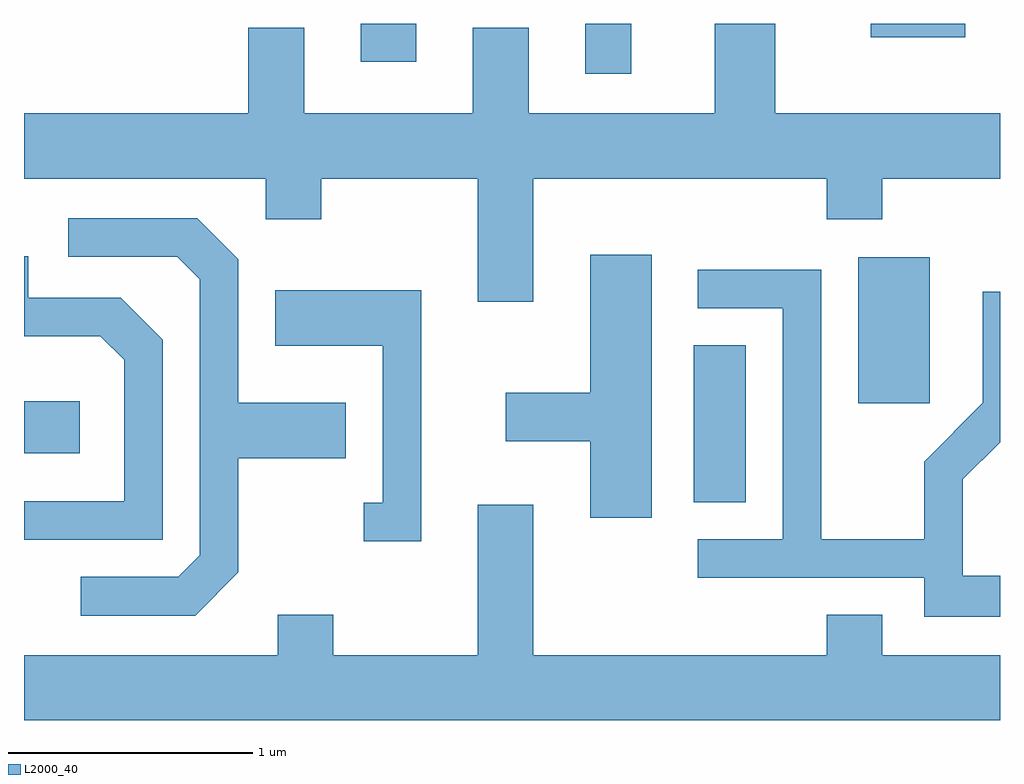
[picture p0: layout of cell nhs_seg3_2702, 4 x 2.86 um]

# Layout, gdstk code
import gdstk
lib = gdstk.Library(unit=1e-6, precision=1e-09)
def R(c, l, rs):  # rectangles x0, y0, x1, y1
    for r in rs: c.add(gdstk.rectangle(r[:2], r[2:], *l))
def P(c, l, *ps):  # polygons
    for p in ps: c.add(gdstk.Polygon(p, *l))
L2000_40 = (2000, 40)

nhs_seg3_2702 = lib.new_cell('nhs_seg3_2702')
R(nhs_seg3_2702, L2000_40, [(266.356,1217.931,266.569,1218.574), (263.611,1218.131,263.839,1218.344), (267.031,1218.336,267.324,1218.934), (265.911,1219.686,266.099,1219.892), (264.991,1219.736,265.219,1219.892), (267.081,1219.836,267.468,1219.892)])
P(nhs_seg3_2702, L2000_40, [(265.699,1219.256),(266.901,1219.256),(266.901,1219.091),(267.129,1219.091),(267.129,1219.256),(267.611,1219.256),(267.611,1219.524),(266.689,1219.524),(266.689,1219.892),(266.441,1219.892),(266.441,1219.524),(265.679,1219.524),(265.679,1219.874),(265.451,1219.874),(265.451,1219.524),(264.759,1219.524),(264.759,1219.874),(264.531,1219.874),(264.531,1219.524),(263.611,1219.524),(263.611,1219.256),(264.601,1219.256),(264.601,1219.091),(264.829,1219.091),(264.829,1219.256),(265.471,1219.256),(265.471,1218.751),(265.699,1218.751)],
  [(264.489,1217.644),(264.489,1218.111),(264.929,1218.111),(264.929,1218.339),(264.489,1218.339),(264.489,1218.927),(264.322,1219.094),(263.793,1219.094),(263.793,1218.936),(264.239,1218.936),(264.331,1218.844),(264.331,1217.712),(264.244,1217.624),(263.843,1217.624),(263.843,1217.466),(264.312,1217.466)],
  [(266.184,1218.944),(265.931,1218.944),(265.931,1218.379),(265.586,1218.379),(265.586,1218.181),(265.931,1218.181),(265.931,1217.866),(266.184,1217.866)],
  [(264.179,1218.597),(264.007,1218.769),(263.629,1218.769),(263.629,1218.939),(263.611,1218.939),(263.611,1218.611),(263.924,1218.611),(264.021,1218.514),(264.021,1217.934),(263.611,1217.934),(263.611,1217.776),(264.179,1217.776)],
  [(267.611,1217.629),(267.459,1217.629),(267.459,1218.024),(267.611,1218.176),(267.611,1218.793),(267.541,1218.793),(267.541,1218.337),(267.301,1218.097),(267.301,1217.779),(266.879,1217.779),(266.879,1218.884),(266.373,1218.884),(266.373,1218.726),(266.721,1218.726),(266.721,1217.779),(266.373,1217.779),(266.373,1217.621),(267.301,1217.621),(267.301,1217.461),(267.611,1217.461)],
  [(265.239,1218.799),(264.641,1218.799),(264.641,1218.571),(265.081,1218.571),(265.081,1217.929),(265.003,1217.929),(265.003,1217.771),(265.239,1217.771)],
  [(267.611,1217.304),(267.129,1217.304),(267.129,1217.469),(266.901,1217.469),(266.901,1217.304),(265.699,1217.304),(265.699,1217.919),(265.471,1217.919),(265.471,1217.304),(264.879,1217.304),(264.879,1217.469),(264.651,1217.469),(264.651,1217.304),(263.611,1217.304),(263.611,1217.036),(267.611,1217.036)])

lib.write_gds('nhs_seg3_2702.gds')
